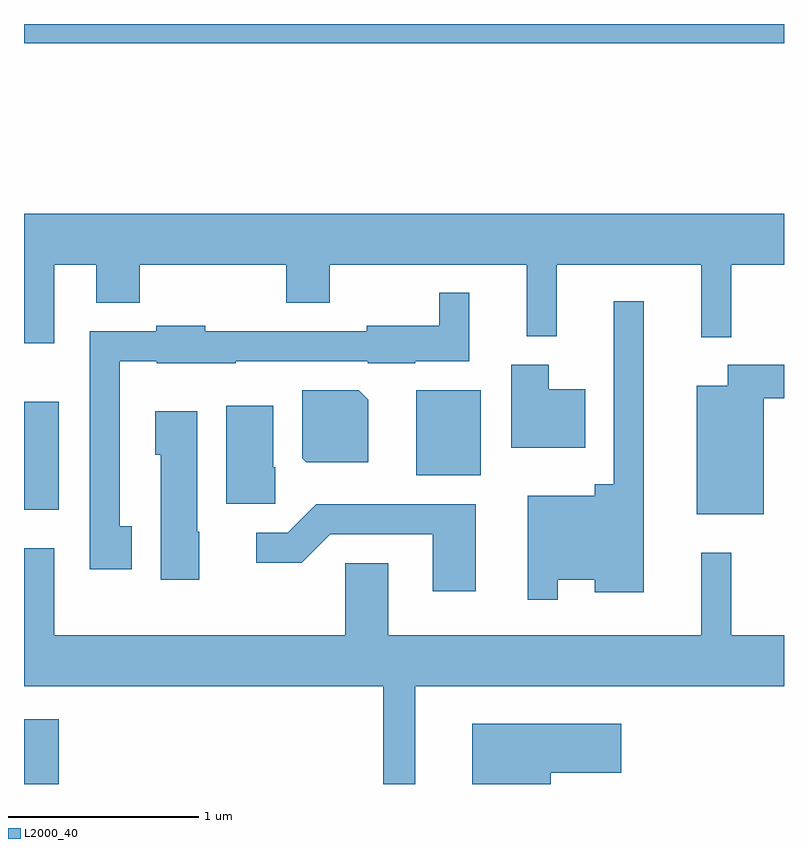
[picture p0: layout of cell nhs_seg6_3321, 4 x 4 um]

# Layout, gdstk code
import gdstk
lib = gdstk.Library(unit=1e-6, precision=1e-09)
def R(c, l, rs):  # rectangles x0, y0, x1, y1
    for r in rs: c.add(gdstk.rectangle(r[:2], r[2:], *l))
def P(c, l, *ps):  # polygons
    for p in ps: c.add(gdstk.Polygon(p, *l))
L2000_40 = (2000, 40)

nhs_seg6_3321 = lib.new_cell('nhs_seg6_3321')
R(nhs_seg6_3321, L2000_40, [(285.611,1576.162,285.794,1576.504), (285.611,1577.606,285.794,1578.174), (287.676,1577.786,288.014,1578.234), (285.611,1580.061,289.611,1580.162)])
P(nhs_seg6_3321, L2000_40, [(285.769,1578.896),(285.991,1578.896),(285.991,1578.696),(286.219,1578.696),(286.219,1578.896),(286.991,1578.896),(286.991,1578.696),(287.219,1578.696),(287.219,1578.896),(288.256,1578.896),(288.256,1578.518),(288.414,1578.518),(288.414,1578.896),(289.176,1578.896),(289.176,1578.513),(289.334,1578.513),(289.334,1578.896),(289.611,1578.896),(289.611,1579.164),(285.611,1579.164),(285.611,1578.481),(285.769,1578.481)],
  [(286.179,1577.519),(286.114,1577.519),(286.114,1578.386),(286.31,1578.386),(286.31,1578.376),(286.725,1578.376),(286.725,1578.386),(287.42,1578.386),(287.42,1578.376),(287.67,1578.376),(287.67,1578.386),(287.954,1578.386),(287.954,1578.748),(287.796,1578.748),(287.796,1578.574),(287.416,1578.574),(287.416,1578.544),(286.564,1578.544),(286.564,1578.574),(286.306,1578.574),(286.306,1578.544),(285.956,1578.544),(285.956,1577.291),(286.179,1577.291)],
  [(288.419,1577.236),(288.616,1577.236),(288.616,1577.171),(288.874,1577.171),(288.874,1578.703),(288.716,1578.703),(288.716,1577.739),(288.616,1577.739),(288.616,1577.679),(288.261,1577.679),(288.261,1577.133),(288.419,1577.133)],
  [(289.504,1578.191),(289.611,1578.191),(289.611,1578.369),(289.316,1578.369),(289.316,1578.259),(289.151,1578.259),(289.151,1577.581),(289.504,1577.581)],
  [(288.564,1578.239),(288.374,1578.239),(288.374,1578.369),(288.176,1578.369),(288.176,1577.931),(288.564,1577.931)],
  [(287.424,1578.184),(287.374,1578.234),(287.076,1578.234),(287.076,1577.877),(287.097,1577.856),(287.424,1577.856)],
  [(286.934,1577.83),(286.924,1577.83),(286.924,1578.154),(286.676,1578.154),(286.676,1577.636),(286.934,1577.636)],
  [(286.534,1577.49),(286.524,1577.49),(286.524,1578.124),(286.301,1578.124),(286.301,1577.896),(286.331,1577.896),(286.331,1577.236),(286.534,1577.236)],
  [(287.989,1577.634),(287.149,1577.634),(286.999,1577.484),(286.833,1577.484),(286.833,1577.326),(287.072,1577.326),(287.222,1577.476),(287.761,1577.476),(287.761,1577.176),(287.989,1577.176)],
  [(287.669,1576.676),(289.611,1576.676),(289.611,1576.944),(289.334,1576.944),(289.334,1577.378),(289.176,1577.378),(289.176,1576.944),(287.529,1576.944),(287.529,1577.324),(287.301,1577.324),(287.301,1576.944),(285.769,1576.944),(285.769,1577.404),(285.611,1577.404),(285.611,1576.676),(287.501,1576.676),(287.501,1576.162),(287.669,1576.162)],
  [(288.384,1576.221),(288.754,1576.221),(288.754,1576.479),(287.971,1576.479),(287.971,1576.162),(288.384,1576.162)])

lib.write_gds('nhs_seg6_3321.gds')
